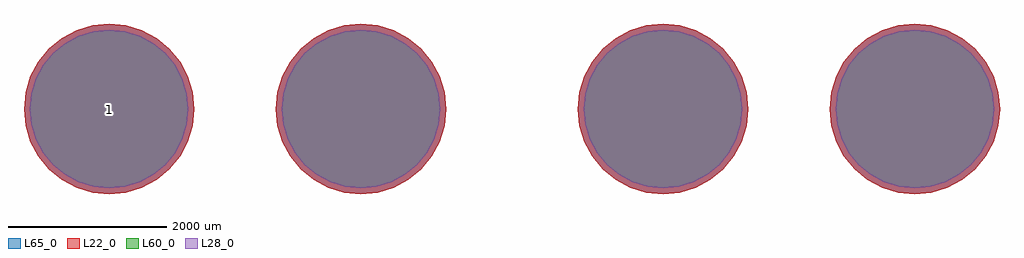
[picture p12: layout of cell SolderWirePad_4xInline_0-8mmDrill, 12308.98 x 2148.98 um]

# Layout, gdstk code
import gdstk
lib = gdstk.Library(unit=1e-6, precision=1e-09)
def P(c, l, *ps):  # polygons
    for p in ps: c.add(gdstk.Polygon(p, *l))
L22_0 = (22, 0)
L28_0 = (28, 0)
L60_0 = (60, 0)
L65_0 = (65, 0)

solderwirepad_4xinline_0 = lib.new_cell('SolderWirePad_4xInline_0-8mmDrill')
P(solderwirepad_4xinline_0, L22_0, [(6154.49,0),(6133.844,209.623),(6072.699,411.19),(5973.406,596.955),(5839.779,759.779),(5676.955,893.406),(5491.19,992.699),(5289.623,1053.844),(5080,1074.49),(4870.377,1053.844),(4668.81,992.699),(4483.045,893.406),(4320.221,759.779),(4186.594,596.955),(4087.301,411.19),(4026.156,209.623),(4005.51,0),(4026.156,-209.623),(4087.301,-411.19),(4186.594,-596.955),(4320.221,-759.779),(4483.045,-893.406),(4668.81,-992.699),(4870.377,-1053.844),(5080,-1074.49),(5289.623,-1053.844),(5491.19,-992.699),(5676.955,-893.406),(5839.779,-759.779),(5973.406,-596.955),(6072.699,-411.19),(6133.844,-209.623)],
  [(2979.49,0),(2958.844,209.623),(2897.699,411.19),(2798.406,596.955),(2664.779,759.779),(2501.955,893.406),(2316.19,992.699),(2114.623,1053.844),(1905,1074.49),(1695.377,1053.844),(1493.81,992.699),(1308.045,893.406),(1145.221,759.779),(1011.594,596.955),(912.301,411.19),(851.156,209.623),(830.51,0),(851.156,-209.623),(912.301,-411.19),(1011.594,-596.955),(1145.221,-759.779),(1308.045,-893.406),(1493.81,-992.699),(1695.377,-1053.844),(1905,-1074.49),(2114.623,-1053.844),(2316.19,-992.699),(2501.955,-893.406),(2664.779,-759.779),(2798.406,-596.955),(2897.699,-411.19),(2958.844,-209.623)],
  [(-830.51,0),(-851.156,209.623),(-912.301,411.19),(-1011.594,596.955),(-1145.221,759.779),(-1308.045,893.406),(-1493.81,992.699),(-1695.377,1053.844),(-1905,1074.49),(-2114.623,1053.844),(-2316.19,992.699),(-2501.955,893.406),(-2664.779,759.779),(-2798.406,596.955),(-2897.699,411.19),(-2958.844,209.623),(-2979.49,0),(-2958.844,-209.623),(-2897.699,-411.19),(-2798.406,-596.955),(-2664.779,-759.779),(-2501.955,-893.406),(-2316.19,-992.699),(-2114.623,-1053.844),(-1905,-1074.49),(-1695.377,-1053.844),(-1493.81,-992.699),(-1308.045,-893.406),(-1145.221,-759.779),(-1011.594,-596.955),(-912.301,-411.19),(-851.156,-209.623)],
  [(-4005.51,0),(-4026.156,209.623),(-4087.301,411.19),(-4186.594,596.955),(-4320.221,759.779),(-4483.045,893.406),(-4668.81,992.699),(-4870.377,1053.844),(-5080,1074.49),(-5289.623,1053.844),(-5491.19,992.699),(-5676.955,893.406),(-5839.779,759.779),(-5973.406,596.955),(-6072.699,411.19),(-6133.844,209.623),(-6154.49,0),(-6133.844,-209.623),(-6072.699,-411.19),(-5973.406,-596.955),(-5839.779,-759.779),(-5676.955,-893.406),(-5491.19,-992.699),(-5289.623,-1053.844),(-5080,-1074.49),(-4870.377,-1053.844),(-4668.81,-992.699),(-4483.045,-893.406),(-4320.221,-759.779),(-4186.594,-596.955),(-4087.301,-411.19),(-4026.156,-209.623)])
P(solderwirepad_4xinline_0, L28_0, [(6079.49,0),(6060.285,194.991),(6003.408,382.488),(5911.046,555.287),(5786.746,706.746),(5635.287,831.046),(5462.488,923.408),(5274.991,980.285),(5080,999.49),(4885.009,980.285),(4697.512,923.408),(4524.713,831.046),(4373.254,706.746),(4248.954,555.287),(4156.592,382.488),(4099.715,194.991),(4080.51,0),(4099.715,-194.991),(4156.592,-382.488),(4248.954,-555.287),(4373.254,-706.746),(4524.713,-831.046),(4697.512,-923.408),(4885.009,-980.285),(5080,-999.49),(5274.991,-980.285),(5462.488,-923.408),(5635.287,-831.046),(5786.746,-706.746),(5911.046,-555.287),(6003.408,-382.488),(6060.285,-194.991)],
  [(2904.49,0),(2885.285,194.991),(2828.408,382.488),(2736.046,555.287),(2611.746,706.746),(2460.287,831.046),(2287.488,923.408),(2099.991,980.285),(1905,999.49),(1710.009,980.285),(1522.512,923.408),(1349.713,831.046),(1198.254,706.746),(1073.954,555.287),(981.592,382.488),(924.715,194.991),(905.51,0),(924.715,-194.991),(981.592,-382.488),(1073.954,-555.287),(1198.254,-706.746),(1349.713,-831.046),(1522.512,-923.408),(1710.009,-980.285),(1905,-999.49),(2099.991,-980.285),(2287.488,-923.408),(2460.287,-831.046),(2611.746,-706.746),(2736.046,-555.287),(2828.408,-382.488),(2885.285,-194.991)],
  [(-905.51,0),(-924.715,194.991),(-981.592,382.488),(-1073.954,555.287),(-1198.254,706.746),(-1349.713,831.046),(-1522.512,923.408),(-1710.009,980.285),(-1905,999.49),(-2099.991,980.285),(-2287.488,923.408),(-2460.287,831.046),(-2611.746,706.746),(-2736.046,555.287),(-2828.408,382.488),(-2885.285,194.991),(-2904.49,0),(-2885.285,-194.991),(-2828.408,-382.488),(-2736.046,-555.287),(-2611.746,-706.746),(-2460.287,-831.046),(-2287.488,-923.408),(-2099.991,-980.285),(-1905,-999.49),(-1710.009,-980.285),(-1522.512,-923.408),(-1349.713,-831.046),(-1198.254,-706.746),(-1073.954,-555.287),(-981.592,-382.488),(-924.715,-194.991)],
  [(-4080.51,0),(-4099.715,194.991),(-4156.592,382.488),(-4248.954,555.287),(-4373.254,706.746),(-4524.713,831.046),(-4697.512,923.408),(-4885.009,980.285),(-5080,999.49),(-5274.991,980.285),(-5462.488,923.408),(-5635.287,831.046),(-5786.746,706.746),(-5911.046,555.287),(-6003.408,382.488),(-6060.285,194.991),(-6079.49,0),(-6060.285,-194.991),(-6003.408,-382.488),(-5911.046,-555.287),(-5786.746,-706.746),(-5635.287,-831.046),(-5462.488,-923.408),(-5274.991,-980.285),(-5080,-999.49),(-4885.009,-980.285),(-4697.512,-923.408),(-4524.713,-831.046),(-4373.254,-706.746),(-4248.954,-555.287),(-4156.592,-382.488),(-4099.715,-194.991)])
P(solderwirepad_4xinline_0, L60_0, [(6079.49,0),(6060.285,194.991),(6003.408,382.488),(5911.046,555.287),(5786.746,706.746),(5635.287,831.046),(5462.488,923.408),(5274.991,980.285),(5080,999.49),(4885.009,980.285),(4697.512,923.408),(4524.713,831.046),(4373.254,706.746),(4248.954,555.287),(4156.592,382.488),(4099.715,194.991),(4080.51,0),(4099.715,-194.991),(4156.592,-382.488),(4248.954,-555.287),(4373.254,-706.746),(4524.713,-831.046),(4697.512,-923.408),(4885.009,-980.285),(5080,-999.49),(5274.991,-980.285),(5462.488,-923.408),(5635.287,-831.046),(5786.746,-706.746),(5911.046,-555.287),(6003.408,-382.488),(6060.285,-194.991)],
  [(2904.49,0),(2885.285,194.991),(2828.408,382.488),(2736.046,555.287),(2611.746,706.746),(2460.287,831.046),(2287.488,923.408),(2099.991,980.285),(1905,999.49),(1710.009,980.285),(1522.512,923.408),(1349.713,831.046),(1198.254,706.746),(1073.954,555.287),(981.592,382.488),(924.715,194.991),(905.51,0),(924.715,-194.991),(981.592,-382.488),(1073.954,-555.287),(1198.254,-706.746),(1349.713,-831.046),(1522.512,-923.408),(1710.009,-980.285),(1905,-999.49),(2099.991,-980.285),(2287.488,-923.408),(2460.287,-831.046),(2611.746,-706.746),(2736.046,-555.287),(2828.408,-382.488),(2885.285,-194.991)],
  [(-905.51,0),(-924.715,194.991),(-981.592,382.488),(-1073.954,555.287),(-1198.254,706.746),(-1349.713,831.046),(-1522.512,923.408),(-1710.009,980.285),(-1905,999.49),(-2099.991,980.285),(-2287.488,923.408),(-2460.287,831.046),(-2611.746,706.746),(-2736.046,555.287),(-2828.408,382.488),(-2885.285,194.991),(-2904.49,0),(-2885.285,-194.991),(-2828.408,-382.488),(-2736.046,-555.287),(-2611.746,-706.746),(-2460.287,-831.046),(-2287.488,-923.408),(-2099.991,-980.285),(-1905,-999.49),(-1710.009,-980.285),(-1522.512,-923.408),(-1349.713,-831.046),(-1198.254,-706.746),(-1073.954,-555.287),(-981.592,-382.488),(-924.715,-194.991)],
  [(-4080.51,0),(-4099.715,194.991),(-4156.592,382.488),(-4248.954,555.287),(-4373.254,706.746),(-4524.713,831.046),(-4697.512,923.408),(-4885.009,980.285),(-5080,999.49),(-5274.991,980.285),(-5462.488,923.408),(-5635.287,831.046),(-5786.746,706.746),(-5911.046,555.287),(-6003.408,382.488),(-6060.285,194.991),(-6079.49,0),(-6060.285,-194.991),(-6003.408,-382.488),(-5911.046,-555.287),(-5786.746,-706.746),(-5635.287,-831.046),(-5462.488,-923.408),(-5274.991,-980.285),(-5080,-999.49),(-4885.009,-980.285),(-4697.512,-923.408),(-4524.713,-831.046),(-4373.254,-706.746),(-4248.954,-555.287),(-4156.592,-382.488),(-4099.715,-194.991)])
P(solderwirepad_4xinline_0, L65_0, [(6154.49,0),(6133.844,209.623),(6072.699,411.19),(5973.406,596.955),(5839.779,759.779),(5676.955,893.406),(5491.19,992.699),(5289.623,1053.844),(5080,1074.49),(4870.377,1053.844),(4668.81,992.699),(4483.045,893.406),(4320.221,759.779),(4186.594,596.955),(4087.301,411.19),(4026.156,209.623),(4005.51,0),(4026.156,-209.623),(4087.301,-411.19),(4186.594,-596.955),(4320.221,-759.779),(4483.045,-893.406),(4668.81,-992.699),(4870.377,-1053.844),(5080,-1074.49),(5289.623,-1053.844),(5491.19,-992.699),(5676.955,-893.406),(5839.779,-759.779),(5973.406,-596.955),(6072.699,-411.19),(6133.844,-209.623)],
  [(2979.49,0),(2958.844,209.623),(2897.699,411.19),(2798.406,596.955),(2664.779,759.779),(2501.955,893.406),(2316.19,992.699),(2114.623,1053.844),(1905,1074.49),(1695.377,1053.844),(1493.81,992.699),(1308.045,893.406),(1145.221,759.779),(1011.594,596.955),(912.301,411.19),(851.156,209.623),(830.51,0),(851.156,-209.623),(912.301,-411.19),(1011.594,-596.955),(1145.221,-759.779),(1308.045,-893.406),(1493.81,-992.699),(1695.377,-1053.844),(1905,-1074.49),(2114.623,-1053.844),(2316.19,-992.699),(2501.955,-893.406),(2664.779,-759.779),(2798.406,-596.955),(2897.699,-411.19),(2958.844,-209.623)],
  [(-830.51,0),(-851.156,209.623),(-912.301,411.19),(-1011.594,596.955),(-1145.221,759.779),(-1308.045,893.406),(-1493.81,992.699),(-1695.377,1053.844),(-1905,1074.49),(-2114.623,1053.844),(-2316.19,992.699),(-2501.955,893.406),(-2664.779,759.779),(-2798.406,596.955),(-2897.699,411.19),(-2958.844,209.623),(-2979.49,0),(-2958.844,-209.623),(-2897.699,-411.19),(-2798.406,-596.955),(-2664.779,-759.779),(-2501.955,-893.406),(-2316.19,-992.699),(-2114.623,-1053.844),(-1905,-1074.49),(-1695.377,-1053.844),(-1493.81,-992.699),(-1308.045,-893.406),(-1145.221,-759.779),(-1011.594,-596.955),(-912.301,-411.19),(-851.156,-209.623)],
  [(-4005.51,0),(-4026.156,209.623),(-4087.301,411.19),(-4186.594,596.955),(-4320.221,759.779),(-4483.045,893.406),(-4668.81,992.699),(-4870.377,1053.844),(-5080,1074.49),(-5289.623,1053.844),(-5491.19,992.699),(-5676.955,893.406),(-5839.779,759.779),(-5973.406,596.955),(-6072.699,411.19),(-6133.844,209.623),(-6154.49,0),(-6133.844,-209.623),(-6072.699,-411.19),(-5973.406,-596.955),(-5839.779,-759.779),(-5676.955,-893.406),(-5491.19,-992.699),(-5289.623,-1053.844),(-5080,-1074.49),(-4870.377,-1053.844),(-4668.81,-992.699),(-4483.045,-893.406),(-4320.221,-759.779),(-4186.594,-596.955),(-4087.301,-411.19),(-4026.156,-209.623)])
solderwirepad_4xinline_0.add(gdstk.Label('1', (-5080,0), layer=28, texttype=0))
solderwirepad_4xinline_0.add(gdstk.Label('type', (-635,-3175), layer=9, texttype=0))
solderwirepad_4xinline_0.add(gdstk.Label('devicename', (0,3175), layer=9, texttype=0))

lib.write_gds('SolderWirePad_4xInline_0-8mmDrill.gds')
